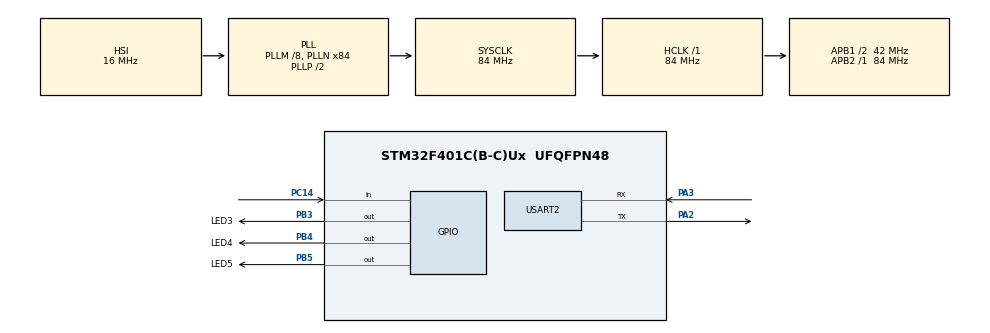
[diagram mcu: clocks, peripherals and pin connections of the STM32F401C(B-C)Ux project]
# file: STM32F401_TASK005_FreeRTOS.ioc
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Mcu.Family=STM32F4
Mcu.Name=STM32F401C(B-C)Ux
Mcu.Package=UFQFPN48
NVIC.PriorityGroup=NVIC_PRIORITYGROUP_4
NVIC.TIM5_IRQn=true\:15\:0\:false\:false\:true\:false\:true\:true
NVIC.TimeBase=TIM5_IRQn
NVIC.TimeBaseIP=TIM5
PA13.Mode=Serial_Wire
PA13.Signal=SYS_JTMS-SWDIO
PA14.Mode=Serial_Wire
PA14.Signal=SYS_JTCK-SWCLK
PA2.Mode=Asynchronous
PA2.Signal=USART2_TX
PA3.Mode=Asynchronous
PA3.Signal=USART2_RX
PB3.GPIO_Label=LED3
PB3.Signal=GPIO_Output
PB4.GPIO_Label=LED4
PB4.Signal=GPIO_Output
PB5.GPIO_Label=LED5
PB5.Signal=GPIO_Output
PC14-OSC32_IN.GPIO_PuPd=GPIO_PULLDOWN
PC14-OSC32_IN.Signal=GPIO_Input
ProjectManager.HeapSize=0x200
ProjectManager.StackSize=0x400
ProjectManager.TargetToolchain=STM32CubeIDE
RCC.48MHZClocksFreq_Value=42000000
RCC.AHBFreq_Value=84000000
RCC.APB1CLKDivider=RCC_HCLK_DIV2
RCC.APB1Freq_Value=42000000
RCC.APB1TimFreq_Value=84000000
RCC.APB2Freq_Value=84000000
RCC.APB2TimFreq_Value=84000000
RCC.CortexFreq_Value=84000000
RCC.HCLKFreq_Value=84000000
RCC.HSE_VALUE=25000000
RCC.HSI_VALUE=16000000
RCC.LSE_VALUE=32768
RCC.PLLM=8
RCC.PLLN=84
RCC.SYSCLKFreq_VALUE=84000000
RCC.SYSCLKSource=RCC_SYSCLKSOURCE_PLLCLK
RCC.VCOOutputFreq_Value=168000000
USART2.VirtualMode=VM_ASYNC
VP_SYS_VS_tim5.Mode=TIM5
board=custom

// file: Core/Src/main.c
/* USER CODE BEGIN Header */
/**
  ******************************************************************************
  * @file           : main.c
  * @brief          : Main program body
  ******************************************************************************
  * @attention
  *
  * Copyright (c) 2024 STMicroelectronics.
  * All rights reserved.
  *
  * This software is licensed under terms that can be found in the LICENSE file
  * in the root directory of this software component.
  * If no LICENSE file comes with this software, it is provided AS-IS.
  *
  ******************************************************************************
  */
/* USER CODE END Header */
#include "main.h"

/* USER CODE BEGIN Includes */
#include "FreeRTOS.h"
#include "task.h"
#include "stdio.h"
/* USER CODE END Includes */

/* USER CODE BEGIN PD */
#define DWT_CTRL (*(volatile uint32_t *) 0xE0001000)
/* USER CODE END PD */

UART_HandleTypeDef huart2;

/* USER CODE BEGIN PV */
TaskHandle_t task1_handle;
TaskHandle_t task2_handle;
TaskHandle_t task3_handle;
TaskHandle_t task_btn_handle;

TaskHandle_t task_btn_handle;
BaseType_t status;

TaskHandle_t volatile next_task_handle = NULL;
/* USER CODE END PV */

void SystemClock_Config(void);
static void MX_GPIO_Init(void);
static void MX_USART2_UART_Init(void);
/* USER CODE BEGIN PFP */
static void Task1_Handler(void*);
static void Task2_Handler(void*);
static void Task3_Handler(void*);
static void Task_btn_Handler(void*);
extern void SEGGER_UART_init(uint32_t);

/* USER CODE END PFP */

int main(void)
{

  /* MCU Configuration--------------------------------------------------------*/

  /* Reset of all peripherals, Initializes the Flash interface and the Systick. */
  HAL_Init();

  /* Configure the system clock */
  SystemClock_Config();

  /* Initialize all configured peripherals */
  MX_GPIO_Init();
  MX_USART2_UART_Init();
  /* USER CODE BEGIN 2 */

  //enable the cycle counter (CYCCNT register)
  DWT_CTRL |= (1<<0);
  SEGGER_SYSVIEW_DisableEvents(((U32)1u << 17)); //Disable Idle event
  SEGGER_UART_init(230400);

  SEGGER_SYSVIEW_Conf();
   //SEGGER_SYSVIEW_Start();

   status = xTaskCreate(Task1_Handler, "Task_1_o_5", 200, NULL, 3, &task1_handle);
   configASSERT(status == pdPASS);

   next_task_handle = task1_handle;

   status = xTaskCreate(Task2_Handler, "Task_2_g_5", 200,  NULL, 2, &task2_handle);
   configASSERT(status == pdPASS);

   status = xTaskCreate(Task3_Handler, "Task_3_r_5", 200, NULL, 1, &task3_handle);
   configASSERT(status == pdPASS);

   status = xTaskCreate(Task_btn_Handler, "Button_task_5", 200, NULL, 4, &task_btn_handle);
    configASSERT(status == pdPASS);

   vTaskStartScheduler(); //if the scheduler fails, this function will return.

  /* USER CODE END 2 */

  /* Infinite loop */
  while (1)
  {

  }
}

void SystemClock_Config(void)
{
  RCC_OscInitTypeDef RCC_OscInitStruct = {0};
  RCC_ClkInitTypeDef RCC_ClkInitStruct = {0};

  /** Configure the main internal regulator output voltage
  */
  __HAL_RCC_PWR_CLK_ENABLE();
  __HAL_PWR_VOLTAGESCALING_CONFIG(PWR_REGULATOR_VOLTAGE_SCALE2);

  /** Initializes the RCC Oscillators according to the specified parameters
  * in the RCC_OscInitTypeDef structure.
  */
  RCC_OscInitStruct.OscillatorType = RCC_OSCILLATORTYPE_HSI;
  RCC_OscInitStruct.HSIState = RCC_HSI_ON;
  RCC_OscInitStruct.HSICalibrationValue = RCC_HSICALIBRATION_DEFAULT;
  RCC_OscInitStruct.PLL.PLLState = RCC_PLL_ON;
  RCC_OscInitStruct.PLL.PLLSource = RCC_PLLSOURCE_HSI;
  RCC_OscInitStruct.PLL.PLLM = 8;
  RCC_OscInitStruct.PLL.PLLN = 84;
  RCC_OscInitStruct.PLL.PLLP = RCC_PLLP_DIV2;
  RCC_OscInitStruct.PLL.PLLQ = 4;
  if (HAL_RCC_OscConfig(&RCC_OscInitStruct) != HAL_OK)
  {
    Error_Handler();
  }

  /** Initializes the CPU, AHB and APB buses clocks
  */
  RCC_ClkInitStruct.ClockType = RCC_CLOCKTYPE_HCLK|RCC_CLOCKTYPE_SYSCLK
                              |RCC_CLOCKTYPE_PCLK1|RCC_CLOCKTYPE_PCLK2;
  RCC_ClkInitStruct.SYSCLKSource = RCC_SYSCLKSOURCE_PLLCLK;
  RCC_ClkInitStruct.AHBCLKDivider = RCC_SYSCLK_DIV1;
  RCC_ClkInitStruct.APB1CLKDivider = RCC_HCLK_DIV2;
  RCC_ClkInitStruct.APB2CLKDivider = RCC_HCLK_DIV1;

  if (HAL_RCC_ClockConfig(&RCC_ClkInitStruct, FLASH_LATENCY_2) != HAL_OK)
  {
    Error_Handler();
  }
}

static void MX_USART2_UART_Init(void)
{

  huart2.Instance = USART2;
  huart2.Init.BaudRate = 115200;
  huart2.Init.WordLength = UART_WORDLENGTH_8B;
  huart2.Init.StopBits = UART_STOPBITS_1;
  huart2.Init.Parity = UART_PARITY_NONE;
  huart2.Init.Mode = UART_MODE_TX_RX;
  huart2.Init.HwFlowCtl = UART_HWCONTROL_NONE;
  huart2.Init.OverSampling = UART_OVERSAMPLING_16;
  if (HAL_UART_Init(&huart2) != HAL_OK)
  {
    Error_Handler();
  }

}

static void MX_GPIO_Init(void)
{
  GPIO_InitTypeDef GPIO_InitStruct = {0};

  /* GPIO Ports Clock Enable */
  __HAL_RCC_GPIOC_CLK_ENABLE();
  __HAL_RCC_GPIOA_CLK_ENABLE();
  __HAL_RCC_GPIOB_CLK_ENABLE();

  /*Configure GPIO pin Output Level */
  HAL_GPIO_WritePin(GPIOB, LED3_Pin|LED4_Pin|LED5_Pin, GPIO_PIN_RESET);

  /*Configure GPIO pin : PC14 */
  GPIO_InitStruct.Pin = GPIO_PIN_14;
  GPIO_InitStruct.Mode = GPIO_MODE_INPUT;
  GPIO_InitStruct.Pull = GPIO_PULLDOWN;
  HAL_GPIO_Init(GPIOC, &GPIO_InitStruct);

  /*Configure GPIO pins : LED3_Pin LED4_Pin LED5_Pin */
  GPIO_InitStruct.Pin = LED3_Pin|LED4_Pin|LED5_Pin;
  GPIO_InitStruct.Mode = GPIO_MODE_OUTPUT_PP;
  GPIO_InitStruct.Pull = GPIO_NOPULL;
  GPIO_InitStruct.Speed = GPIO_SPEED_FREQ_LOW;
  HAL_GPIO_Init(GPIOB, &GPIO_InitStruct);

}

/* USER CODE BEGIN 4 */
static void Task1_Handler(void* parameters){

	BaseType_t status;
    char msg[30];

	while(1){
	  HAL_GPIO_TogglePin(GPIOB, LED3_Pin);
	  status = xTaskNotifyWait(0,0, NULL, pdMS_TO_TICKS(1000));
	  snprintf(msg,30,"%s\n", "Toggle LED3");
	  SEGGER_SYSVIEW_PrintfTarget(msg);
	  if(status == pdTRUE){
		  vTaskSuspendAll(); //modifying a global variable, when scheduler suspended preemption will not occur
		  next_task_handle = task2_handle;
		  xTaskResumeAll();
		  HAL_GPIO_WritePin(GPIOB, LED3_Pin, GPIO_PIN_SET);
			snprintf(msg,30,"%s\n", "Delete task1");
			SEGGER_SYSVIEW_PrintfTarget(msg);
		  vTaskDelete(NULL);
	  }
	}

}

static void Task2_Handler(void* parameters)
{
	BaseType_t status;
    char msg[30];

		while(1){
		  HAL_GPIO_TogglePin(GPIOB, LED4_Pin);
		  status = xTaskNotifyWait(0,0, NULL, pdMS_TO_TICKS(800));
		  snprintf(msg,30,"%s\n", "Toggle LED4");
		  SEGGER_SYSVIEW_PrintfTarget(msg);
		  if(status == pdTRUE){
			  vTaskSuspendAll();
			  next_task_handle = task3_handle;
			  xTaskResumeAll();
			  HAL_GPIO_WritePin(GPIOB, LED4_Pin, GPIO_PIN_SET);
				snprintf(msg,30,"%s\n", "Delete task2");
				SEGGER_SYSVIEW_PrintfTarget(msg);
			  vTaskDelete(NULL);
		  }
		}

}

static void Task3_Handler(void* parameters)
{
	BaseType_t status;
    char msg[30];

		while(1){
		  HAL_GPIO_TogglePin(GPIOB, LED5_Pin);
		  status = xTaskNotifyWait(0,0, NULL, pdMS_TO_TICKS(400));
		  snprintf(msg,30,"%s\n", "Toggle LED5");
		  SEGGER_SYSVIEW_PrintfTarget(msg);
		  if(status == pdTRUE){
			  vTaskSuspendAll();
			  next_task_handle = NULL;
			  xTaskResumeAll();
			  HAL_GPIO_WritePin(GPIOB, LED5_Pin, GPIO_PIN_SET);
			  snprintf(msg,30,"%s\n", "Delete task3");
			  SEGGER_SYSVIEW_PrintfTarget(msg);
			  vTaskDelete(task_btn_handle);
			  vTaskDelete(NULL);
		  }
		}

}

static void Task_btn_Handler(void* parameters)
{
	uint8_t btn_read = 0;
	uint8_t prev_read = 0;
	while(1){
		btn_read = HAL_GPIO_ReadPin(GPIOC, GPIO_PIN_14);
		if(btn_read){
			if(!prev_read){
				xTaskNotify(next_task_handle,0,eNoAction);
			}

		}
		prev_read = btn_read;
		vTaskDelay(pdMS_TO_TICKS(10));
	}

}

/* USER CODE END 4 */

void HAL_TIM_PeriodElapsedCallback(TIM_HandleTypeDef *htim)
{
  if (htim->Instance == TIM5) {
    HAL_IncTick();
  }
}

void Error_Handler(void)
{
  __disable_irq();
  while (1)
  {
  }
}
